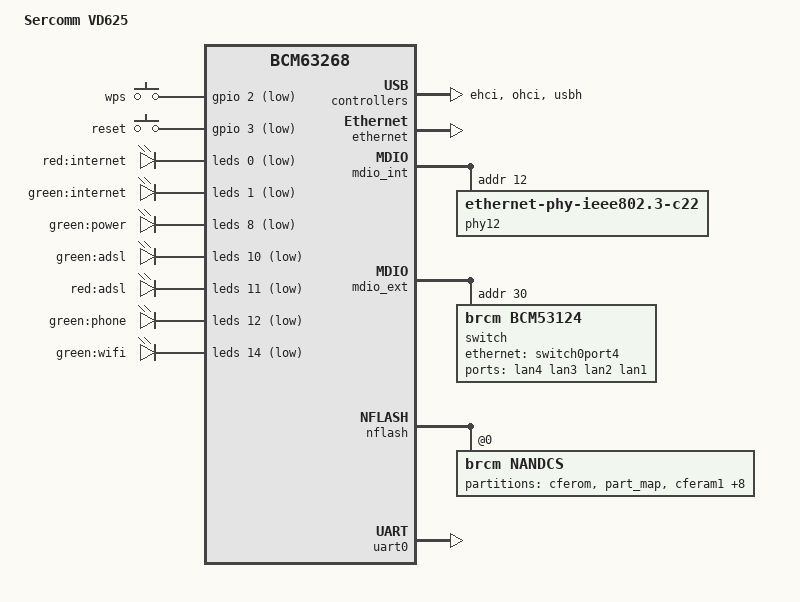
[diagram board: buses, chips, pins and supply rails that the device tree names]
// SPDX-License-Identifier: (GPL-2.0-or-later OR MIT)
/*
 * Device Tree file for Sercomm VD625
 *
 * Copyright (C) 2023 Alex Pitrolo <alexpitrolo95@gmail.com>
 */

#include "bcm63268.dtsi"

/ {
	model = "Sercomm VD625";
	compatible = "sercomm,vd625", "brcm,bcm63168", "brcm,bcm63268";
	
	aliases {
		led-boot = &led_power_green;
		led-failsafe = &led_power_green;
		led-running = &led_power_green;
		led-upgrade = &led_power_green;
	};

	keys {
		compatible = "gpio-keys-polled";
		poll-interval = <20>;

		wps {
			label = "wps";
			gpios = <&gpio 2 GPIO_ACTIVE_LOW>;
			linux,code = <KEY_WPS_BUTTON>;
			debounce-interval = <60>;
		};

		reset {
			label = "reset";
			gpios = <&gpio 3 GPIO_ACTIVE_LOW>;
			linux,code = <KEY_RESTART>;
			debounce-interval = <60>;
		};
	};
};

&ehci {
	status = "okay";
};

&ethernet {
	status = "okay";

	nvmem-cells = <&macaddr_cferom_6a0>;
	nvmem-cell-names = "mac-address";
};

&mdio_int {
	phy12: ethernet-phy@c {
		compatible = "ethernet-phy-ieee802.3-c22";
		reg = <12>;
	};
};

&mdio_ext {
	switch@1e {
		compatible = "brcm,bcm53124";
		reg = <30>;

		dsa,member = <1 0>;

		ports {
			#address-cells = <1>;
			#size-cells = <0>;

			port@1 {
				reg = <1>;
				label = "lan4";
			};

			port@2 {
				reg = <2>;
				label = "lan3";
			};

			port@3 {
				reg = <3>;
				label = "lan2";
			};

			port@4 {
				reg = <4>;
				label = "lan1";
			};

			port@8 {
				reg = <8>;

				phy-mode = "rgmii-txid";
				ethernet = <&switch0port4>;

				fixed-link {
					speed = <1000>;
					full-duplex;
				};
			};
		};
	};
};

&leds {
	status = "okay";

	pinctrl-names = "default";
	pinctrl-0 = <&pinctrl_leds &pinctrl_serial_led>;

	brcm,serial-leds;
	brcm,serial-shift-inv;
	brcm,serial-dat-low;

	led@0 {
		reg = <0>;
		active-low;
		label = "red:internet";
	};

	led@1 {
		reg = <1>;
		active-low;
		label = "green:internet";
	};

	led_power_green: led@8 {
		reg = <8>;
		active-low;
		label = "green:power";
		default-state = "on";
	};

	led@10 {
		reg = <10>;
		active-low;
		label = "green:adsl";
	};

	led@11 {
		reg = <11>;
		active-low;
		label = "red:adsl";
	};

	led@12 {
		reg = <12>;
		active-low;
		label = "green:phone";
	};


	led@14 {
		reg = <14>;
		active-low;
		label = "green:wifi";
	};
};

&nflash {
	status = "okay";

	nandcs@0 {
		compatible = "brcm,nandcs";
		#size-cells = <1>;
		#address-cells = <1>;
		reg = <0>;
		nand-ecc-step-size = <512>;
		nand-ecc-strength = <4>;
		nand-on-flash-bbt;
		brcm,nand-oob-sector-size = <64>;

		partitions {
			compatible = "fixed-partitions";
			#address-cells = <1>;
			#size-cells = <1>;

			cferom: partition@0 {
				label = "cferom";
				reg = <0x0000000 0x0020000>;
				read-only;
			};

			partition@20000 {
				label = "part_map";
				reg = <0x0020000 0x00a0000>;
				read-only;
			};

			partition@c0000 {
				label = "cferam1";
				reg = <0x00c0000 0x0140000>;
				read-only;
			};

			partition@200000 {
				label = "cferam2";
				reg = <0x0200000 0x0140000>;
				read-only;
			};

            partition@340000 {
                label = "serial";
                reg = <0x0340000 0x00a0000>;
            };

            partition@3e0000 {
                label = "protect";
                reg = <0x03e0000 0x0140000>;
            };

			partition@9b20000 {
				label = "bootflag1";
				reg = <0x9b20000 0x0140000>;
			};

			partition@9c60000 {
				label = "bootflag2";
				reg = <0x9c60000 0x0140000>;
			};

			partition@520000 {
				compatible = "sercomm,wfi";
                label = "wfi";
                reg = <0x0520000 0x9600000>;
            };

			partition@9da0000 {
				label = "xml_cfg";
				reg = <0x9da0000 0x0500000>;
				read-only;
			};

			partition@a2a0000 {
				label = "app_data";
				reg = <0xa2a0000 0x5360000>;
				read-only;
			};
		};
	};
};

&uart0 {
	status = "okay";
};


&ohci {
	status = "okay";
};

&switch0 {
	dsa,member = <0 0>;

	ports {
		port@3 {
			reg = <3>;
			label = "wan";

			phy-handle = <&phy12>;
		};

		switch0port4: port@4 {
			reg = <4>;
			label = "extsw";

			phy-mode = "rgmii-txid";

			fixed-link {
				speed = <1000>;
				full-duplex;
			};
		};
	};
};

&usbh {
	status = "okay";
};

&pinctrl {
	pinctrl_leds: leds {
		function = "led";
		pins = "gpio0", "gpio1";
	};
};


&cferom {
	compatible = "nvmem-cells";
	#address-cells = <1>;
	#size-cells = <1>;

	macaddr_cferom_6a0: macaddr@6a0 {
		reg = <0x6a0 0x6>;
	};
};
